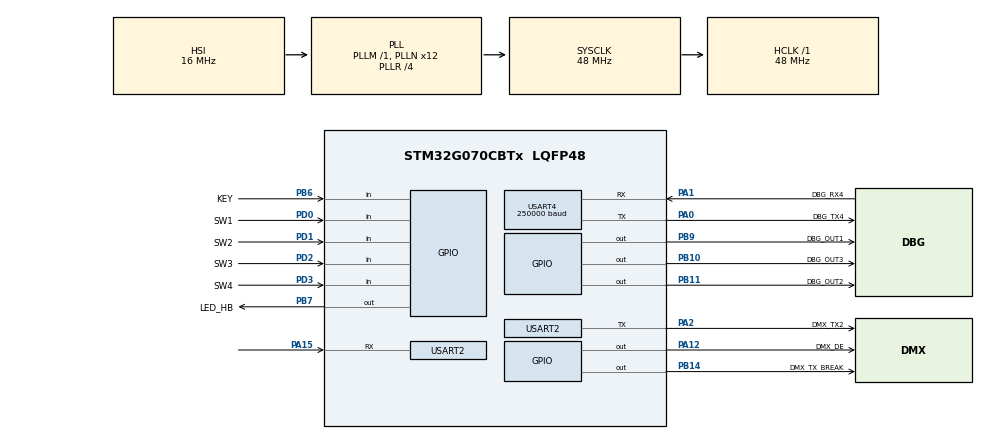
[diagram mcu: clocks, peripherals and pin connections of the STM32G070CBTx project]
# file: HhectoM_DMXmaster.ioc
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Mcu.Family=STM32G0
Mcu.Name=STM32G070CBTx
Mcu.Package=LQFP48
Mcu.UserConstants=TIM_CLK_MHZ,48;DMX_SLOT,44;DMX_BREAK,176;DMX_MBS,0;DMX_MAB,12
NVIC.TIM16_IRQn=true\:0\:0\:false\:false\:true\:true\:true\:true
NVIC.TIM17_IRQn=true\:0\:0\:false\:false\:true\:true\:true\:true
PA0.GPIO_Label=DBG_TX4
PA0.Mode=Asynchronous
PA0.Signal=USART4_TX
PA1.GPIO_Label=DBG_RX4
PA1.Mode=Asynchronous
PA1.Signal=USART4_RX
PA12\ [PA10].GPIO_Label=DMX_DE
PA12\ [PA10].PinState=GPIO_PIN_SET
PA12\ [PA10].Signal=GPIO_Output
PA13.Mode=Serial_Wire
PA13.Signal=SYS_SWDIO
PA14-BOOT0.Mode=Serial_Wire
PA14-BOOT0.Signal=SYS_SWCLK
PA15.Mode=Asynchronous
PA15.Signal=USART2_RX
PA2.GPIO_Label=DMX_TX2
PA2.Mode=Asynchronous
PA2.Signal=USART2_TX
PB10.GPIO_Label=DBG_OUT3
PB10.Signal=GPIO_Output
PB11.GPIO_Label=DBG_OUT2
PB11.Signal=GPIO_Output
PB14.GPIO_Label=DMX_TX_BREAK
PB14.GPIO_ModeDefaultOutputPP=GPIO_MODE_OUTPUT_OD
PB14.GPIO_PuPd=GPIO_NOPULL
PB14.PinState=GPIO_PIN_SET
PB14.Signal=GPIO_Output
PB6.GPIO_Label=KEY
PB6.GPIO_PuPd=GPIO_PULLUP
PB6.Signal=GPIO_Input
PB7.GPIO_Label=LED_HB
PB7.Signal=GPIO_Output
PB9.GPIO_Label=DBG_OUT1
PB9.Signal=GPIO_Output
PD0.GPIO_Label=SW1
PD0.GPIO_Mode=GPIO_MODE_INPUT
PD0.GPIO_PuPd=GPIO_PULLUP
PD0.Signal=GPIO_Input
PD1.GPIO_Label=SW2
PD1.GPIO_Mode=GPIO_MODE_INPUT
PD1.GPIO_PuPd=GPIO_PULLUP
PD1.Signal=GPIO_Input
PD2.GPIO_Label=SW3
PD2.GPIO_Mode=GPIO_MODE_INPUT
PD2.GPIO_PuPd=GPIO_PULLUP
PD2.Signal=GPIO_Input
PD3.GPIO_Label=SW4
PD3.GPIO_Mode=GPIO_MODE_INPUT
PD3.GPIO_PuPd=GPIO_PULLUP
PD3.Signal=GPIO_Input
PF0-OSC_IN\ (PF0).Mode=HSE-External-Oscillator
PF0-OSC_IN\ (PF0).Signal=RCC_OSC_IN
PF1-OSC_OUT\ (PF1).Mode=HSE-External-Oscillator
PF1-OSC_OUT\ (PF1).Signal=RCC_OSC_OUT
ProjectManager.HeapSize=0x200
ProjectManager.StackSize=0x400
ProjectManager.TargetToolchain=STM32CubeIDE
RCC.ADCFreq_Value=48000000
RCC.AHBFreq_Value=48000000
RCC.APB1CLKDivider=RCC_HCLK_DIV2
RCC.CortexFreq_Value=48000000
RCC.EXTERNAL_CLOCK_VALUE=48000
RCC.HCLKFreq_Value=48000000
RCC.HSE_VALUE=16000000
RCC.HSI_VALUE=16000000
RCC.LSE_VALUE=32768
RCC.PLLN=12
RCC.PLLR=RCC_PLLR_DIV4
RCC.SYSCLKFreq_VALUE=48000000
RCC.SYSCLKSource=RCC_SYSCLKSOURCE_PLLCLK
RCC.USART2CLockSelection=RCC_USART2CLKSOURCE_SYSCLK
RCC.VCOOutputFreq_Value=192000000
TIM16.Period=DMX_SLOT + DMX_MBS
TIM16.Prescaler=TIM_CLK_MHZ-1
TIM17.Channel=TIM_CHANNEL_1
TIM17.Period=DMX_BREAK-4 + DMX_MAB
TIM17.Prescaler=TIM_CLK_MHZ-1
TIM17.Pulse=DMX_BREAK-4
USART2.BaudRate=250000
USART2.Mode=MODE_TX
USART2.StopBits=STOPBITS_2
USART2.VirtualMode-Asynchronous=VM_ASYNC
USART4.BaudRate=250000
USART4.VirtualMode-Asynchronous=VM_ASYNC
VP_SYS_VS_DBSignals.Mode=DisableDeadBatterySignals
VP_TIM16_VS_ClockSourceINT.Mode=Enable_Timer
VP_TIM17_VS_ClockSourceINT.Mode=Enable_Timer
VP_TIM17_VS_no_output1.Mode=Output Compare1 No Output
board=custom

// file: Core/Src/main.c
/* USER CODE BEGIN Header */
/**
 ******************************************************************************
 * @file           : main.c
 * @brief          : Main program body
 ******************************************************************************
 * @attention
 *
 * Copyright (c) 2024 STMicroelectronics.
 * All rights reserved.
 *
 * This software is licensed under terms that can be found in the LICENSE file
 * in the root directory of this software component.
 * If no LICENSE file comes with this software, it is provided AS-IS.
 *
 ******************************************************************************
 */
/*
 ******************************************************************************
 * Hemera Hecto Master
 *
 * HHM_dmxMaster(demo)
 *
 * hw: 20029097 HhectoM r.B
 ******************************************************************************
 * v0.3
 * - read key, dipsw        ...ok
 * - dmx master             ...ok
 * - hartbeat led           ...ok
 * - demo (police lights)   ...ok
 *
 * - control tiol
 * - bootloader thru tiol
 * - bluetooth
 ******************************************************************************
 * TIM16	DMX	Break		        IRQ_UPDATE
 * TIM17	DMR MAB		            IRQ_UPDATE, IRQ_CC1
 * PB14	    DMX USART Tx Break      IRQ from TIM17
 * USART2	DMX 250kbps 8B-2SB-0P	IRQ from TIM16
 * USART4	DBG 250kbps 9B-1SB-0P
 ******************************************************************************
 * source: https://github.com/aleksandrgilfanov/stm32f4-dmx-transmitter
 */

/* USER CODE END Header */
#include "main.h"

/* USER CODE BEGIN PD */
#define PROG_NAME       "HH-M DMX512 master demo\r\n"
#define PROG_VERSION    "(31/05/24) v0.3\r\n"

#define LED_HB_PERIOD   42//200
#define LED_HB_BEAT     1//3 //10
#define LED_HB_PAUSE    12//20//40

#define OPT_SWITCH_1    1
#define OPT_SWITCH_2    2
#define OPT_SWITCH_3    3
#define OPT_SWITCH_4    4

/* USER CODE END PD */

TIM_HandleTypeDef htim16;
TIM_HandleTypeDef htim17;

UART_HandleTypeDef huart2;
UART_HandleTypeDef huart4;

/* USER CODE BEGIN PV */
uint8_t test_packet[512];
uint8_t i = 0, up = 1;
uint8_t HeartBeat = 0;
uint8_t OptSwitch = 0;

/* USER CODE END PV */

void SystemClock_Config(void);
static void MX_GPIO_Init(void);
static void MX_TIM16_Init(void);
static void MX_TIM17_Init(void);
static void MX_USART2_UART_Init(void);
static void MX_USART4_UART_Init(void);
/* USER CODE BEGIN PFP */

#ifdef __GNUC__
/* With GCC/RAISONANCE, small printf (option LD Linker->Libraries->Small printf
 set to 'Yes') calls __io_putchar() */
#define PUTCHAR_PROTOTYPE int __io_putchar(int ch)
#else
#define PUTCHAR_PROTOTYPE int fputc(int ch, FILE *f)
#endif /* __GNUC__ */

/* USER CODE END PFP */

/* USER CODE BEGIN 0 */

PUTCHAR_PROTOTYPE {
    /* Place your implementation of fputc here */
    /* e.g. write a character to the USART4 and Loop until the end of transmission */
    HAL_UART_Transmit(&huart4, (uint8_t*) &ch, 1, 0xFFFF);

    return ch;
}

void read_Hardware(void){

    if (OPT_SW1())
        OptSwitch |= 1 << 0;
    else
        OptSwitch &= ~(1 << 0);
    if (OPT_SW2())
        OptSwitch |= 1 << 1;
    else
        OptSwitch &= ~(1 << 1);
    if (OPT_SW3())
        OptSwitch |= 1 << 2;
    else
        OptSwitch &= ~(1 << 2);
    if (OPT_SW4())
        OptSwitch |= 1 << 3;
    else
        OptSwitch &= ~(1 << 3);

    switch (HeartBeat++) {
        case 0:
        case LED_HB_PAUSE:
            LED_HB_ON();
            break;
        case LED_HB_BEAT:
        case (LED_HB_PAUSE + LED_HB_BEAT):
            LED_HB_OFF();
            break;
        case LED_HB_PERIOD:
            HeartBeat = 0;
            printf("%010lu: [", HAL_GetTick());
            print_half_byte(OptSwitch);
            printf("]\r\n");
            break;
    }
    if (!HAL_GPIO_ReadPin(KEY_GPIO_Port, KEY_Pin)){
        printf("HH-M DMX512 master demo\r\n");
        printf(PROG_VERSION);
        while (!HAL_GPIO_ReadPin(KEY_GPIO_Port, KEY_Pin)){};
    };

}

void DMX_breath(uint8_t channel) {
    test_packet[channel] = i & 0xFF;
    test_packet[channel + 4] = i & 0xFF;
    test_packet[channel + 10] = (0xFF - i) & 0xFF;
    test_packet[channel + 14] = (0xFF - i) & 0xFF;

    if (up) {
        i = i + 10;
        if (i > 244)
            up = 0;
    } else {
        i = i - 10;
        if (i < 10)
            up = 1;
    }
}

/* USER CODE END 0 */

int main(void) {

    /* MCU Configuration--------------------------------------------------------*/

    /* Reset of all peripherals, Initializes the Flash interface and the Systick. */
    HAL_Init();

    /* Configure the system clock */
    SystemClock_Config();

    /* Initialize all configured peripherals */
    MX_GPIO_Init();
    MX_TIM16_Init();
    MX_TIM17_Init();
    MX_USART2_UART_Init();
    MX_USART4_UART_Init();
    /* USER CODE BEGIN 2 */

    for (int i = 0; i < sizeof(test_packet); i++)
        test_packet[i] = 0; //i & 0xFF;

    //dbg_dumppacket(test_packet,513);
    //while (HAL_GPIO_ReadPin(KEY_GPIO_Port, KEY_Pin)){};
    //while (!HAL_GPIO_ReadPin(KEY_GPIO_Port, KEY_Pin)){};

    /* USER CODE END 2 */

    /* Infinite loop */
    /* USER CODE BEGIN WHILE */
    while (1) {

        DBG_OUT1();
        DBG_OUT2();
        DBG_OUT3();
        dmx_send(test_packet, sizeof(test_packet));
        DMX_breath(0);

        read_Hardware();

        //HAL_Delay(1); //10ms

        /* USER CODE END WHILE */

    }
}

void SystemClock_Config(void) {
    RCC_OscInitTypeDef RCC_OscInitStruct = { 0 };
    RCC_ClkInitTypeDef RCC_ClkInitStruct = { 0 };

    /** Configure the main internal regulator output voltage
     */
    HAL_PWREx_ControlVoltageScaling(PWR_REGULATOR_VOLTAGE_SCALE1);

    /** Initializes the RCC Oscillators according to the specified parameters
     * in the RCC_OscInitTypeDef structure.
     */
    RCC_OscInitStruct.OscillatorType = RCC_OSCILLATORTYPE_HSI;
    RCC_OscInitStruct.HSIState = RCC_HSI_ON;
    RCC_OscInitStruct.HSIDiv = RCC_HSI_DIV1;
    RCC_OscInitStruct.HSICalibrationValue = RCC_HSICALIBRATION_DEFAULT;
    RCC_OscInitStruct.PLL.PLLState = RCC_PLL_ON;
    RCC_OscInitStruct.PLL.PLLSource = RCC_PLLSOURCE_HSI;
    RCC_OscInitStruct.PLL.PLLM = RCC_PLLM_DIV1;
    RCC_OscInitStruct.PLL.PLLN = 12;
    RCC_OscInitStruct.PLL.PLLP = RCC_PLLP_DIV2;
    RCC_OscInitStruct.PLL.PLLR = RCC_PLLR_DIV4;
    if (HAL_RCC_OscConfig(&RCC_OscInitStruct) != HAL_OK) {
        Error_Handler();
    }

    /** Initializes the CPU, AHB and APB buses clocks
     */
    RCC_ClkInitStruct.ClockType = RCC_CLOCKTYPE_HCLK | RCC_CLOCKTYPE_SYSCLK
            | RCC_CLOCKTYPE_PCLK1;
    RCC_ClkInitStruct.SYSCLKSource = RCC_SYSCLKSOURCE_PLLCLK;
    RCC_ClkInitStruct.AHBCLKDivider = RCC_SYSCLK_DIV1;
    RCC_ClkInitStruct.APB1CLKDivider = RCC_HCLK_DIV2;

    if (HAL_RCC_ClockConfig(&RCC_ClkInitStruct, FLASH_LATENCY_1) != HAL_OK) {
        Error_Handler();
    }
}

static void MX_TIM16_Init(void) {

    htim16.Instance = TIM16;
    htim16.Init.Prescaler = TIM_CLK_MHZ - 1;
    htim16.Init.CounterMode = TIM_COUNTERMODE_UP;
    htim16.Init.Period = DMX_SLOT + DMX_MBS;
    htim16.Init.ClockDivision = TIM_CLOCKDIVISION_DIV1;
    htim16.Init.RepetitionCounter = 0;
    htim16.Init.AutoReloadPreload = TIM_AUTORELOAD_PRELOAD_DISABLE;
    if (HAL_TIM_Base_Init(&htim16) != HAL_OK) {
        Error_Handler();
    }
    /* USER CODE BEGIN TIM16_Init 2 */

    /*
     * Update flag should be cleaned, to prevent unwanted interrupt. Inerrupt
     * flag is generated earlier, by following call:
     * HAL_TIM_Base_Init -> TIM_Base_SetConfig -> TIMx->EGR = TIM_EGR_UG
     */
    __HAL_TIM_CLEAR_IT(&htim16, TIM_FLAG_UPDATE);
    /* Enable interrupts, but don't enable timer counter, to prevent interrupts */
    __HAL_TIM_ENABLE_IT(&htim16, TIM_IT_UPDATE);

    /* USER CODE END TIM16_Init 2 */

}

static void MX_TIM17_Init(void) {

    TIM_OC_InitTypeDef sConfigOC = { 0 };
    TIM_BreakDeadTimeConfigTypeDef sBreakDeadTimeConfig = { 0 };

    htim17.Instance = TIM17;
    htim17.Init.Prescaler = TIM_CLK_MHZ - 1;
    htim17.Init.CounterMode = TIM_COUNTERMODE_UP;
    htim17.Init.Period = DMX_BREAK - 4 + DMX_MAB;
    htim17.Init.ClockDivision = TIM_CLOCKDIVISION_DIV1;
    htim17.Init.RepetitionCounter = 0;
    htim17.Init.AutoReloadPreload = TIM_AUTORELOAD_PRELOAD_DISABLE;
    if (HAL_TIM_Base_Init(&htim17) != HAL_OK) {
        Error_Handler();
    }
    if (HAL_TIM_OC_Init(&htim17) != HAL_OK) {
        Error_Handler();
    }
    sConfigOC.OCMode = TIM_OCMODE_TIMING;
    sConfigOC.Pulse = DMX_BREAK - 4;
    sConfigOC.OCPolarity = TIM_OCPOLARITY_HIGH;
    sConfigOC.OCNPolarity = TIM_OCNPOLARITY_HIGH;
    sConfigOC.OCFastMode = TIM_OCFAST_DISABLE;
    sConfigOC.OCIdleState = TIM_OCIDLESTATE_RESET;
    sConfigOC.OCNIdleState = TIM_OCNIDLESTATE_RESET;
    if (HAL_TIM_OC_ConfigChannel(&htim17, &sConfigOC, TIM_CHANNEL_1)
            != HAL_OK) {
        Error_Handler();
    }
    sBreakDeadTimeConfig.OffStateRunMode = TIM_OSSR_DISABLE;
    sBreakDeadTimeConfig.OffStateIDLEMode = TIM_OSSI_DISABLE;
    sBreakDeadTimeConfig.LockLevel = TIM_LOCKLEVEL_OFF;
    sBreakDeadTimeConfig.DeadTime = 0;
    sBreakDeadTimeConfig.BreakState = TIM_BREAK_DISABLE;
    sBreakDeadTimeConfig.BreakPolarity = TIM_BREAKPOLARITY_HIGH;
    sBreakDeadTimeConfig.BreakFilter = 0;
    sBreakDeadTimeConfig.AutomaticOutput = TIM_AUTOMATICOUTPUT_DISABLE;
    if (HAL_TIMEx_ConfigBreakDeadTime(&htim17, &sBreakDeadTimeConfig)
            != HAL_OK) {
        Error_Handler();
    }
    /* USER CODE BEGIN TIM17_Init 2 */

    /*
     * Update flag should be cleaned, to prevent unwanted interrupt. Inerrupt
     * flag is generated earlier, by following call:
     * HAL_TIM_Base_Init -> TIM_Base_SetConfig -> TIMx->EGR = TIM_EGR_UG
     */
    //__HAL_TIM_CLEAR_IT(&htim17, TIM_FLAG_UPDATE);
    //__HAL_TIM_CLEAR_IT(&htim17, TIM_IT_CC1);//h24
    /* Enable interrupts, but don't enable timer counter, to prevent interrupts */
    __HAL_TIM_ENABLE_IT(&htim17, TIM_IT_UPDATE);
    __HAL_TIM_ENABLE_IT(&htim17, TIM_IT_CC1);
    //__HAL_TIM_ENABLE_IT(&htim17, TIM_IT_CC2);

    /* USER CODE END TIM17_Init 2 */

}

static void MX_USART2_UART_Init(void) {

    huart2.Instance = USART2;
    huart2.Init.BaudRate = 250000;
    huart2.Init.WordLength = UART_WORDLENGTH_8B;
    huart2.Init.StopBits = UART_STOPBITS_2;
    huart2.Init.Parity = UART_PARITY_NONE;
    huart2.Init.Mode = UART_MODE_TX;
    huart2.Init.HwFlowCtl = UART_HWCONTROL_NONE;
    huart2.Init.OverSampling = UART_OVERSAMPLING_16;
    huart2.Init.OneBitSampling = UART_ONE_BIT_SAMPLE_DISABLE;
    huart2.Init.ClockPrescaler = UART_PRESCALER_DIV1;
    huart2.AdvancedInit.AdvFeatureInit = UART_ADVFEATURE_NO_INIT;
    if (HAL_UART_Init(&huart2) != HAL_OK) {
        Error_Handler();
    }
    if (HAL_UARTEx_SetTxFifoThreshold(&huart2, UART_TXFIFO_THRESHOLD_1_8)
            != HAL_OK) {
        Error_Handler();
    }
    if (HAL_UARTEx_SetRxFifoThreshold(&huart2, UART_RXFIFO_THRESHOLD_1_8)
            != HAL_OK) {
        Error_Handler();
    }
    if (HAL_UARTEx_DisableFifoMode(&huart2) != HAL_OK) {
        Error_Handler();
    }

}

static void MX_USART4_UART_Init(void) {

    huart4.Instance = USART4;
    huart4.Init.BaudRate = 250000;
    huart4.Init.WordLength = UART_WORDLENGTH_8B;
    huart4.Init.StopBits = UART_STOPBITS_1;
    huart4.Init.Parity = UART_PARITY_NONE;
    huart4.Init.Mode = UART_MODE_TX_RX;
    huart4.Init.HwFlowCtl = UART_HWCONTROL_NONE;
    huart4.Init.OverSampling = UART_OVERSAMPLING_16;
    huart4.Init.OneBitSampling = UART_ONE_BIT_SAMPLE_DISABLE;
    huart4.Init.ClockPrescaler = UART_PRESCALER_DIV1;
    huart4.AdvancedInit.AdvFeatureInit = UART_ADVFEATURE_NO_INIT;
    if (HAL_UART_Init(&huart4) != HAL_OK) {
        Error_Handler();
    }

}

static void MX_GPIO_Init(void) {
    GPIO_InitTypeDef GPIO_InitStruct = { 0 };

    /* GPIO Ports Clock Enable */
    __HAL_RCC_GPIOF_CLK_ENABLE();
    __HAL_RCC_GPIOA_CLK_ENABLE();
    __HAL_RCC_GPIOB_CLK_ENABLE();
    __HAL_RCC_GPIOD_CLK_ENABLE();

    /*Configure GPIO pin Output Level */
    HAL_GPIO_WritePin(GPIOB,
    DBG_OUT3_Pin | DBG_OUT2_Pin | LED_HB_Pin | DBG_OUT1_Pin, GPIO_PIN_RESET);

    /*Configure GPIO pin Output Level */
    HAL_GPIO_WritePin(DMX_TX_BREAK_GPIO_Port, DMX_TX_BREAK_Pin, GPIO_PIN_SET);

    /*Configure GPIO pin Output Level */
    HAL_GPIO_WritePin(DMX_DE_GPIO_Port, DMX_DE_Pin, GPIO_PIN_SET);

    /*Configure GPIO pins : DBG_OUT3_Pin DBG_OUT2_Pin LED_HB_Pin DBG_OUT1_Pin */
    GPIO_InitStruct.Pin = DBG_OUT3_Pin | DBG_OUT2_Pin | LED_HB_Pin
            | DBG_OUT1_Pin;
    GPIO_InitStruct.Mode = GPIO_MODE_OUTPUT_PP;
    GPIO_InitStruct.Pull = GPIO_NOPULL;
    GPIO_InitStruct.Speed = GPIO_SPEED_FREQ_LOW;
    HAL_GPIO_Init(GPIOB, &GPIO_InitStruct);

    /*Configure GPIO pin : DMX_TX_BREAK_Pin */
    GPIO_InitStruct.Pin = DMX_TX_BREAK_Pin;
    GPIO_InitStruct.Mode = GPIO_MODE_OUTPUT_OD;
    GPIO_InitStruct.Pull = GPIO_NOPULL;
    GPIO_InitStruct.Speed = GPIO_SPEED_FREQ_LOW;
    HAL_GPIO_Init(DMX_TX_BREAK_GPIO_Port, &GPIO_InitStruct);

    /*Configure GPIO pin : DMX_DE_Pin */
    GPIO_InitStruct.Pin = DMX_DE_Pin;
    GPIO_InitStruct.Mode = GPIO_MODE_OUTPUT_PP;
    GPIO_InitStruct.Pull = GPIO_NOPULL;
    GPIO_InitStruct.Speed = GPIO_SPEED_FREQ_LOW;
    HAL_GPIO_Init(DMX_DE_GPIO_Port, &GPIO_InitStruct);

    /*Configure GPIO pins : SW1_Pin SW2_Pin SW3_Pin SW4_Pin */
    GPIO_InitStruct.Pin = SW1_Pin | SW2_Pin | SW3_Pin | SW4_Pin;
    GPIO_InitStruct.Mode = GPIO_MODE_INPUT;
    GPIO_InitStruct.Pull = GPIO_PULLUP;
    HAL_GPIO_Init(GPIOD, &GPIO_InitStruct);

    /*Configure GPIO pin : KEY_Pin */
    GPIO_InitStruct.Pin = KEY_Pin;
    GPIO_InitStruct.Mode = GPIO_MODE_INPUT;
    GPIO_InitStruct.Pull = GPIO_PULLUP;
    HAL_GPIO_Init(KEY_GPIO_Port, &GPIO_InitStruct);

}

void Error_Handler(void) {
    __disable_irq();
    while (1) {
    }
}
